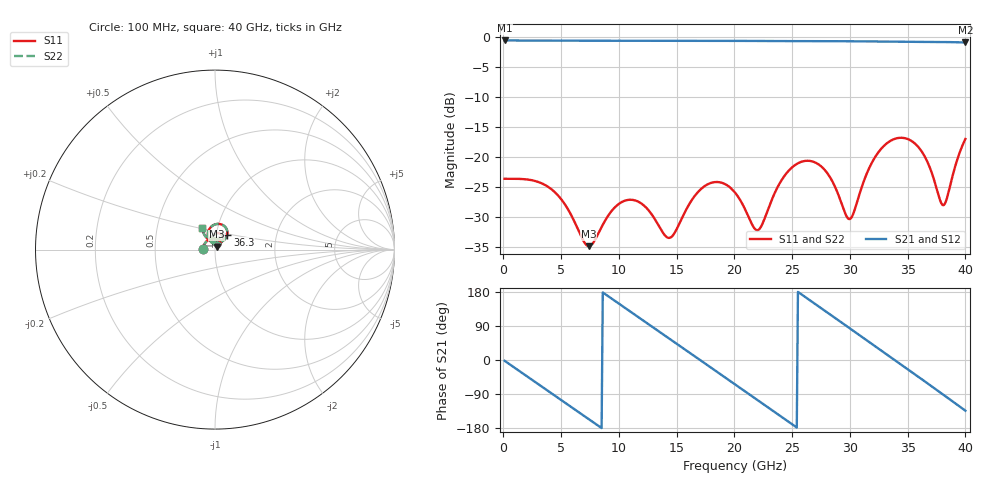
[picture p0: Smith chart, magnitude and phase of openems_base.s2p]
! thru_BV_vna_rf_hblb1_out: 2×thru In2.Cu, 8 mm
! stackup: as the board case
! ports: 1 near, 2 far
! openEMS 0.37.0, staircase, base mesh (dfine 0.035 mm), 546048 cells
# Hz S RI R 50
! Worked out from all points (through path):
!   400 points, 100 MHz to 40 GHz, reference 50 ohm
!   highest |S21| = -0.60 dB at 100 MHz (marker M1); lowest = -0.9 dB at 40 GHz (marker M2)
!   group delay of S21, straight-line fit = 59.2 ps
!   lowest |S11| = -34.8 dB at 7.4 GHz (marker M3), VSWR 1.04, Z = 50.9 + j1.61 ohm
!   |S11| at or under -10 dB: start of sweep to end of sweep
!   |S22| runs from -34.8 to -16.8 dB; largest |S21 - S12| = 0
!   S11 on the Smith chart (normalised r, x): 100 MHz: 0.88, +0.01; 36.3 GHz: 1.13, +0.19; 40 GHz: 0.84, +0.21
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1e8  -0.066 0.0037  0.9327 -0.0345  0.9327 -0.0345  -0.066 0.0037
1.7e9  -0.0395 0.0525  0.7543 -0.5484  0.7543 -0.5484  -0.0395 0.0525
3.6e9  0.0142 0.057  0.2221 -0.9038  0.2221 -0.9038  0.0142 0.057
5.1e9  0.0303 0.0311  -0.285 -0.8847  -0.285 -0.8847  0.0303 0.0311
6.8e9  0.0159 0.0141  -0.7486 -0.5496  -0.7486 -0.5496  0.0159 0.0141
7.4e9  0.00903 0.0158  -0.8507 -0.3721  -0.8507 -0.3721  0.00903 0.0158
1e10  0.011 0.0394  -0.7933 0.4824  -0.7933 0.4824  0.011 0.0394
1.18e10  0.0261 0.033  -0.3268 0.8687  -0.3268 0.8687  0.0261 0.033
1.34e10  0.0192 0.0196  0.2127 0.903  0.2127 0.903  0.0192 0.0196
1.45e10  0.00599 0.0207  0.5522 0.7449  0.5522 0.7449  0.00599 0.0207
1.68e10  0.00031 0.0507  0.9231 0.0764  0.9231 0.0764  0.00031 0.0507
1.84e10  0.0219 0.0581  0.8083 -0.4516  0.8083 -0.4516  0.0219 0.0581
2.01e10  0.0327 0.0379  0.3868 -0.8408  0.3868 -0.8408  0.0327 0.0379
2.2e10  0.0052 0.0241  -0.2507 -0.89  -0.2507 -0.89  0.0052 0.0241
2.4e10  -0.0181 0.0598  -0.7853 -0.4845  -0.7853 -0.4845  -0.0181 0.0598
2.67e10  0.0318 0.0868  -0.8284 0.4019  -0.8284 0.4019  0.0318 0.0868
2.84e10  0.0423 0.0494  -0.4285 0.8144  -0.4285 0.8144  0.0423 0.0494
3e10  0.00233 0.0305  0.106 0.9131  0.106 0.9131  0.00233 0.0305
3.34e10  -0.013 0.134  0.8976 0.1608  0.8976 0.1608  -0.013 0.134
3.63e10  0.0685 0.084  0.553 -0.7199  0.553 -0.7199  0.0685 0.084
3.81e10  0.00276 0.0397  -0.0286 -0.9053  -0.0286 -0.9053  0.00276 0.0397
4e10  -0.0711 0.1225  -0.621 -0.6487  -0.621 -0.6487  -0.0711 0.1225
